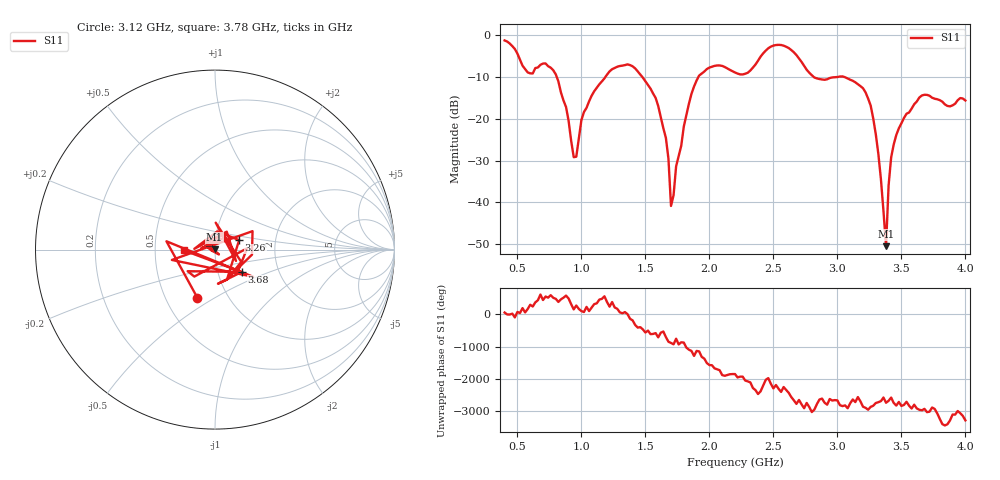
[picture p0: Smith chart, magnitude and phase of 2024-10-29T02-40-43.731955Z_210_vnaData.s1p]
!Created with skrf (http://scikit-rf.org).
# Hz S RI R 50.0
!freq ReS11 ImS11
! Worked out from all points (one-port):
!   181 points, 400 MHz to 4 GHz, reference 50 ohm
!   lowest |S11| = -50.5 dB at 3.38 GHz (marker M1), VSWR 1.01, Z = 49.7 + j0.153 ohm
!   |S11| at or under -10 dB: 808 MHz to 1.186 GHz (378.3 MHz wide, 37.9 % of centre); 1.477 GHz to 1.913 GHz (436.3 MHz wide, 25.7 % of centre); 3.058 GHz to end of sweep (the widest 3 of 4)
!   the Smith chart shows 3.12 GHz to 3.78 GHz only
!   S11 on the Smith chart (normalised r, x): 3.12 GHz: 0.72, -0.42; 3.26 GHz: 1.30, +0.14; 3.68 GHz: 1.30, -0.34; 3.78 GHz: 0.71, -0.01
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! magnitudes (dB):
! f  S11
! 400 MHz  -1.2
! 580 MHz  -8.8
! 780 MHz  -8.3
! 860 MHz  -15.6
! 960 MHz  -29.0
! 1 GHz  -20.3
! 1.08 GHz  -14.4
! 1.3 GHz  -7.3
! 1.58 GHz  -15.0
! 1.66 GHz  -24.5
! 1.7 GHz  -40.8
! 1.76 GHz  -28.9
! 1.92 GHz  -9.6
! 2.2 GHz  -8.9
! 2.5 GHz  -2.4
! 2.66 GHz  -4.1
! 2.82 GHz  -10.1
! 3.1 GHz  -10.6
! 3.12 GHz  -10.9
! 3.26 GHz  -16.8
! 3.32 GHz  -28.4
! 3.38 GHz  -50.5
! 3.4 GHz  -35.9
! 3.42 GHz  -29.2
! 3.56 GHz  -18.5
! 3.68 GHz  -14.2
! 3.78 GHz  -15.3
! 4 GHz  -15.6
